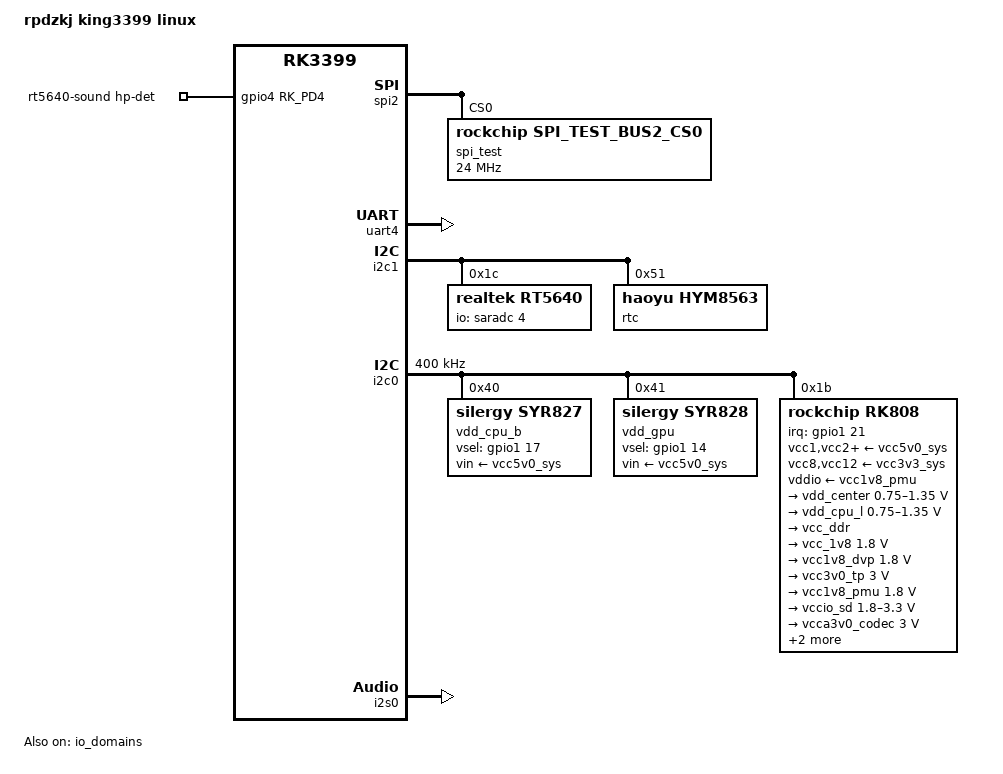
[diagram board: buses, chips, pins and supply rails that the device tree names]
#include "rk3399-sapphire-excavator-linux.dtsi"
#include "rp-usb-typea.dtsi"

//#include "rp-lcd-hdmi.dtsi"
//#include "rp-lcd-mipi-5-720-1280-v2-boxTP.dtsi"
#include "rp-lcd-mipi-7-720-1280-jc070hd005-v1.dtsi"
//#include "rp-lcd-mipi-10-1200-1920-jc101fh107-v1.dtsi"
//#include "rp-lcd-edp-13.3-1920-1080.dtsi"
//#include "rp-lcd-mipi2lvds-gm8775-singlelvds-10-1024-600.dtsi"
//#include "rp-lcd-mipi2lvds-gm8775-duallvds-1920-1080.dtsi"
//#include "rp-lcd-edp-13.3-1920-1080.dtsi"

/ {
    model = "rpdzkj king3399 linux";
    compatible = "rockchip,rk3399-excavator-linux", "rockchip,rk3399";

    rt5640-sound {
        compatible = "simple-audio-card";
        simple-audio-card,format = "i2s";
        simple-audio-card,name = "rockchip,rt5640-codec";
        simple-audio-card,mclk-fs = <256>;
        simple-audio-card,widgets =
                "Microphone", "Mic Jack",
                "Headphone", "Headphone Jack",
                "Speaker", "Speaker";
        simple-audio-card,routing =
                "Mic Jack", "MICBIAS1",
                "IN1P", "Mic Jack",
                "Headphone Jack", "HPOL",
                "Headphone Jack", "HPOR",
                "Speaker", "SPOLP",
                "Speaker", "SPOLN",
                "Speaker", "SPORP",
                "Speaker", "SPORN";
        pinctrl-names = "default";
        pinctrl-0 = <&rt5640_hp_det_gpio>;
        simple-audio-card,hp-det-gpio = <&gpio4 RK_PD4 GPIO_ACTIVE_HIGH>;
        simple-audio-card,cpu {
                sound-dai = <&i2s0>;
        };
        simple-audio-card,codec {
                sound-dai = <&rt5640>;
        };
    };

    rp_power{
        status = "okay";
        compatible = "rp_power";
        rp_not_deep_sleep = <1>;

        //pinctrl-0 = <&rp_power_gpio>;

        /* 
         * #define GPIO_FUNCTION_OUTPUT 0
         * #define GPIO_FUNCTION_INPUT 1
         * #define GPIO_FUNCTION_IRQ 2
         * #define GPIO_FUNCTION_FLASH 3
         * #define GPIO_FUNCTION_OUTPUT_CTRL 4 //output and creat proc ctrl
         * 
         * you can define the gpio function as above
         * on gpio_function = <>;
         */        
        vdd_en { //vdd5v and vdd_io power en
                gpio_num = <&gpio4 30 GPIO_ACTIVE_HIGH>;
                gpio_function = <4>;
        };
        
        hub_rst { //usb hub reset pin
                gpio_num = <&gpio1 24 GPIO_ACTIVE_HIGH>;
                gpio_function = <4>;
        };
        
        otg_host_en { /* usb3.0 otg port host power en,
                       * refer to Schematic diagram,
                       * the default status is needed
                       * by host active, such as below
                       * GPIO_ACTIVE_LOW
                       */
                gpio_num = <&gpio4 26 GPIO_ACTIVE_LOW>;
                gpio_function = <4>;
        };
        
        host_en { //usb2.0 and 3.0 host 5v power en
                gpio_num = <&gpio4 25 GPIO_ACTIVE_HIGH>;
                gpio_function = <4>;
        };        
        
        fan { //fan en
                gpio_num = <&gpio1 18 GPIO_ACTIVE_HIGH>;
                gpio_function = <4>;
        };
        
        vdd_3g {    //vdd 3G power en
                gpio_num = <&gpio4 22 GPIO_ACTIVE_HIGH>;
                gpio_function = <4>;
        };
                
        run_led {	//LED for indicate system is runing
                gpio_num = <&gpio4 24 GPIO_ACTIVE_HIGH>;
                gpio_function = <3>;
        };
        
    };

	rp_gpio{
		status = "okay";
		compatible = "rp_gpio";
		gpio3c0 {
			gpio_num = <&gpio3 16 GPIO_ACTIVE_LOW>;
			gpio_function = <0>;
            /* gpio_event = <KEY_F14>; */ /** define this property if you want to report
                                            * event such as KEY_F14, but this only works
                                            * in case of gpio_function = <1>;
                                            */
		};
					
		gpio0a6 {   //ir_rx
			gpio_num = <&gpio0 6 GPIO_ACTIVE_LOW>;
			gpio_function = <0>;
		};
		
		gpio1b1 {
			gpio_num = <&gpio1 9 GPIO_ACTIVE_LOW>;
			gpio_function = <0>;
		};
        
		gpio1b2 {
			gpio_num = <&gpio1 10 GPIO_ACTIVE_LOW>;
			gpio_function = <0>;
		};
        
		gpio4c5 {
			gpio_num = <&gpio4 21 GPIO_ACTIVE_LOW>;
			gpio_function = <0>;
		};
                
		gpio4d5 {
			gpio_num = <&gpio4 29 GPIO_ACTIVE_LOW>;
			gpio_function = <0>;
		};
        
		gpio1c7 {
			gpio_num = <&gpio1 23 GPIO_ACTIVE_LOW>;
			gpio_function = <0>;
		};
        
		gpio0b3 {
			gpio_num = <&gpio0 11 GPIO_ACTIVE_LOW>;
			gpio_function = <0>;
		};

		gpio1a2 {
			gpio_num = <&gpio1 2 GPIO_ACTIVE_LOW>;
			gpio_function = <0>;
		};
	};
};

&spi2 { 
    status = "okay";
    max-freq = <50000000>;
    spi_test:spi_test@00 {
        status = "okay";
        compatible = "rockchip,spi_test_bus2_cs0";
        id = <2>;
        reg = <0>;
        spi-max-frequency = <24000000>;
        spi-cpha;
        spi-cpol;
    };
};

&uart4 {
	status = "okay";
};


&i2c1 {
	status = "okay";
	i2c-scl-rising-time-ns = <300>;
	i2c-scl-falling-time-ns = <15>;

    rt5640: rt5640@1c {
            #sound-dai-cells = <0>;
            compatible = "realtek,rt5640";
            reg = <0x1c>;
            clocks = <&cru SCLK_I2S_8CH_OUT>;
            clock-names = "mclk";
            realtek,in1-differential;
            pinctrl-names = "default";
            pinctrl-0 = <&i2s_8ch_mclk>;
            io-channels = <&saradc 4>;
            //hp-con-gpio = <&gpio4 21 GPIO_ACTIVE_HIGH>;
            //hp-det-gpio = <&gpio4 28 GPIO_ACTIVE_HIGH>;
            hp-det-adc-value = <500>;
            status = "okay";
    };
};

&i2c0 {
        status = "okay";
        i2c-scl-rising-time-ns = <168>;
        i2c-scl-falling-time-ns = <4>;
        clock-frequency = <400000>;

        vdd_cpu_b: syr827@40 {
                compatible = "silergy,syr827";
                reg = <0x40>;
                vin-supply = <&vcc5v0_sys>;
                regulator-compatible = "fan53555-reg";
                pinctrl-names = "default";
                pinctrl-0 = <&vsel1_gpio>;
                vsel-gpios = <&gpio1 17 GPIO_ACTIVE_HIGH>;
                regulator-name = "vdd_cpu_b";
                regulator-min-microvolt = <712500>;
                regulator-max-microvolt = <1500000>;
                regulator-ramp-delay = <1000>;
                fcs,suspend-voltage-selector = <1>;
                regulator-always-on;
                regulator-boot-on;
                regulator-initial-state = <3>;
                        regulator-state-mem {
                        regulator-off-in-suspend;
                };
        };

        vdd_gpu: syr828@41 {
                compatible = "silergy,syr828";
                reg = <0x41>;
                vin-supply = <&vcc5v0_sys>;
                regulator-compatible = "fan53555-reg";
                pinctrl-names = "default";
                pinctrl-0 = <&vsel2_gpio>;
                vsel-gpios = <&gpio1 14 GPIO_ACTIVE_HIGH>;
                regulator-name = "vdd_gpu";
                regulator-min-microvolt = <712500>;
                regulator-max-microvolt = <1500000>;
                regulator-ramp-delay = <1000>;
                fcs,suspend-voltage-selector = <1>;
                regulator-always-on;
                regulator-boot-on;
                regulator-initial-state = <3>;
                        regulator-state-mem {
                        regulator-off-in-suspend;
                };
        };

        rk808: pmic@1b {
                compatible = "rockchip,rk808";
                reg = <0x1b>;
                interrupt-parent = <&gpio1>;
                interrupts = <21 IRQ_TYPE_LEVEL_LOW>;
                pinctrl-names = "default";
                pinctrl-0 = <&pmic_int_l &pmic_dvs2>;
                rockchip,system-power-controller;
                wakeup-source;
                #clock-cells = <1>;
              //  clock-output-names = "xin32k", "rk808-clkout2";
               clock-output-names = "rk808-clkout1", "rk808-clkout2";   //wifi 
/*
               vcc1-supply = <&vcc3v3_sys>;
               vcc2-supply = <&vcc3v3_sys>;
               vcc3-supply = <&vcc3v3_sys>;
               vcc4-supply = <&vcc3v3_sys>;
               vcc6-supply = <&vcc3v3_sys>;
               vcc7-supply = <&vcc3v3_sys>;
                vcc8-supply = <&vcc3v3_sys>;
               vcc9-supply = <&vcc3v3_sys>;
               vcc10-supply = <&vcc3v3_sys>;
               vcc11-supply = <&vcc3v3_sys>;
                vcc12-supply = <&vcc3v3_sys>;
               vddio-supply = <&vcc_3v0>;

*/
                vcc1-supply = <&vcc5v0_sys>;
                vcc2-supply = <&vcc5v0_sys>;
                vcc3-supply = <&vcc5v0_sys>;
                vcc4-supply = <&vcc5v0_sys>;
                vcca-supply = <&vcc5v0_sys>;
                vcc6-supply = <&vcc5v0_sys>;
                vcc7-supply = <&vcc5v0_sys>;
                vcc8-supply = <&vcc3v3_sys>;
                vcc9-supply = <&vcc5v0_sys>;
                vcc10-supply = <&vcc5v0_sys>;
                vcc11-supply = <&vcc5v0_sys>;
                vcc12-supply = <&vcc3v3_sys>;
                vddio-supply = <&vcc1v8_pmu>;

                regulators {
                        vdd_center: DCDC_REG1 {
                                regulator-always-on;
                                regulator-boot-on;
                                regulator-min-microvolt = <750000>;
                                regulator-max-microvolt = <1350000>;
                                regulator-ramp-delay = <6001>;
                                regulator-name = "vdd_center";
                                regulator-state-mem {
                                        regulator-off-in-suspend;
                                };
                        };

                        vdd_cpu_l: DCDC_REG2 {
                                regulator-always-on;
                                regulator-boot-on;
                                regulator-min-microvolt = <750000>;
                                regulator-max-microvolt = <1350000>;
                                regulator-ramp-delay = <6001>;
                                regulator-name = "vdd_cpu_l";
                                regulator-state-mem {
                                        regulator-off-in-suspend;
                                };
                        };

                        vcc_ddr: DCDC_REG3 {
                                regulator-always-on;
                                regulator-boot-on;
                                regulator-name = "vcc_ddr";
                                regulator-state-mem {
                                        regulator-on-in-suspend;
                                };
                        };

                        vcc_1v8: DCDC_REG4 {
                                regulator-always-on;
                                regulator-boot-on;
                                regulator-min-microvolt = <1800000>;
                                regulator-max-microvolt = <1800000>;
                                regulator-name = "vcc_1v8";
                                regulator-state-mem {
                                        regulator-on-in-suspend;
                                        regulator-suspend-microvolt = <1800000>;
                                };
                        };

                        vcc1v8_dvp: LDO_REG1 {
                                regulator-always-on;
                                regulator-boot-on;
                                regulator-min-microvolt = <1800000>;
                                regulator-max-microvolt = <1800000>;
                                regulator-name = "vcc1v8_dvp";
                                regulator-state-mem {
                                        regulator-off-in-suspend;
                                };
                        };

                        vcc3v0_tp: LDO_REG2 {
                                regulator-always-on;
                                regulator-boot-on;
                                regulator-min-microvolt = <3000000>;
                                regulator-max-microvolt = <3000000>;
                                regulator-name = "vcc3v0_tp";
                                regulator-state-mem {
                                        //regulator-off-in-suspend;
                                        regulator-on-in-suspend;
                                        regulator-suspend-microvolt = <3000000>;
                                };
                        };

                        vcc1v8_pmu: LDO_REG3 {
                                regulator-always-on;
                                regulator-boot-on;
                                regulator-min-microvolt = <1800000>;
                                regulator-max-microvolt = <1800000>;
                                regulator-name = "vcc1v8_pmu";
                                regulator-state-mem {
                                        regulator-on-in-suspend;
                                        regulator-suspend-microvolt = <1800000>;
                                };
                        };

                        vccio_sd: LDO_REG4 {
                                regulator-always-on;
                                regulator-boot-on;
                                regulator-min-microvolt = <1800000>;
                                regulator-max-microvolt = <3300000>;
                                regulator-name = "vccio_sd";
                                regulator-state-mem {
                                        regulator-on-in-suspend;
                                        regulator-suspend-microvolt = <3300000>;
                                };
                        };

                        vcca3v0_codec: LDO_REG5 {
                                regulator-always-on;
                                regulator-boot-on;
                                regulator-min-microvolt = <3000000>;
                                regulator-max-microvolt = <3000000>;
                                regulator-name = "vcca3v0_codec";
                                regulator-state-mem {
                                        regulator-off-in-suspend;
                                     //   regulator-suspend-microvolt = <3000000>;
                                };
                        };

                        vcc_1v5: LDO_REG6 {
                                regulator-always-on;
                                regulator-boot-on;
                                regulator-min-microvolt = <1500000>;
                                regulator-max-microvolt = <1500000>;
                                regulator-name = "vcc_1v5";
                                regulator-state-mem {
                                        regulator-on-in-suspend;
                                        regulator-suspend-microvolt = <1500000>;
                                };
                        };

                        vcca1v8_codec: LDO_REG7 {
                                regulator-always-on;
                                regulator-boot-on;
                                regulator-min-microvolt = <1800000>;
                                regulator-max-microvolt = <1800000>;
                                regulator-name = "vcca1v8_codec";
                                regulator-state-mem {
                                        regulator-off-in-suspend;
                                    //    regulator-suspend-microvolt = <1800000>;
                                };
                        };

                        vcc_3v0: LDO_REG8 {
                                regulator-always-on;
                                regulator-boot-on;
                                regulator-min-microvolt = <3000000>;
                                regulator-max-microvolt = <3000000>;
                                regulator-name = "vcc_3v0";
                                regulator-state-mem {
                                        regulator-on-in-suspend;
                                        regulator-suspend-microvolt = <3000000>;
                                };
                        };

                        vcc3v3_s3: SWITCH_REG1 {
                                regulator-always-on;
                                regulator-boot-on;
                                regulator-name = "vcc3v3_s3";
                                regulator-state-mem {
                                        regulator-off-in-suspend;
                                };
                        };

                        vcc3v3_s0: SWITCH_REG2 {
                                regulator-always-on;
                                regulator-boot-on;
                                regulator-name = "vcc3v3_s0";
                                regulator-state-mem {
                                        regulator-off-in-suspend;
                                };
                        };
                };
        };
};

&io_domains {
        status = "okay";
        bt656-supply = <&vcc_1v8>;              /* bt656_gpio2ab_ms */
        audio-supply = <&vcca1v8_codec>;        /* audio_gpio3d4a_ms */
        sdmmc-supply = <&vccio_sd>;             /* sdmmc_gpio4b_ms */
        gpio1830-supply = <&vcc_3v0>;           /* gpio1833_gpio4cd_ms */
};

&pmu_io_domains {
        status = "okay";
        pmu1830-supply = <&vcc_1v8>;     //king usb
};


&hdmi_sound {
	status = "disabled";
};

&spi1 {
        status = "disabled";
};

&fiq_debugger {
       rockchip,baudrate = <115200>;  /* Only 115200 and 1500000 */
};

&dfi {
       status = "disabled";
};
 
&dmc {
       status = "disabled";
};

&dsi {
    pinctrl-names="default";
    pinctrl-0=<&pwr_en>;
};

&i2s0 {
    status = "okay";
};

&rk808 {
    rtc {
        /****** disabled rtc-rk808 for use hym8563 */
        status = "disabled";
    };
};

&i2c1 {
    status = "okay";
    rtc@51 {
        status = "okay";
        compatible = "haoyu,hym8563";
        reg = <0x51>;
    };
};

&gmac {
    tx_delay = <0x25>;
    rx_delay = <0x25>;  
};

&pinctrl{
    pwr_5v {
        pwr_en: pwr-en {
            rockchip,pins = <4 30 RK_FUNC_GPIO &pcfg_pull_up>;
        };
    };
    
    rt5640 {
		rt5640_hp_det_gpio: rt5640_hp_det_gpio {
			rockchip,pins = <4 28 RK_FUNC_GPIO &pcfg_pull_none>;		
		};
	};
};




